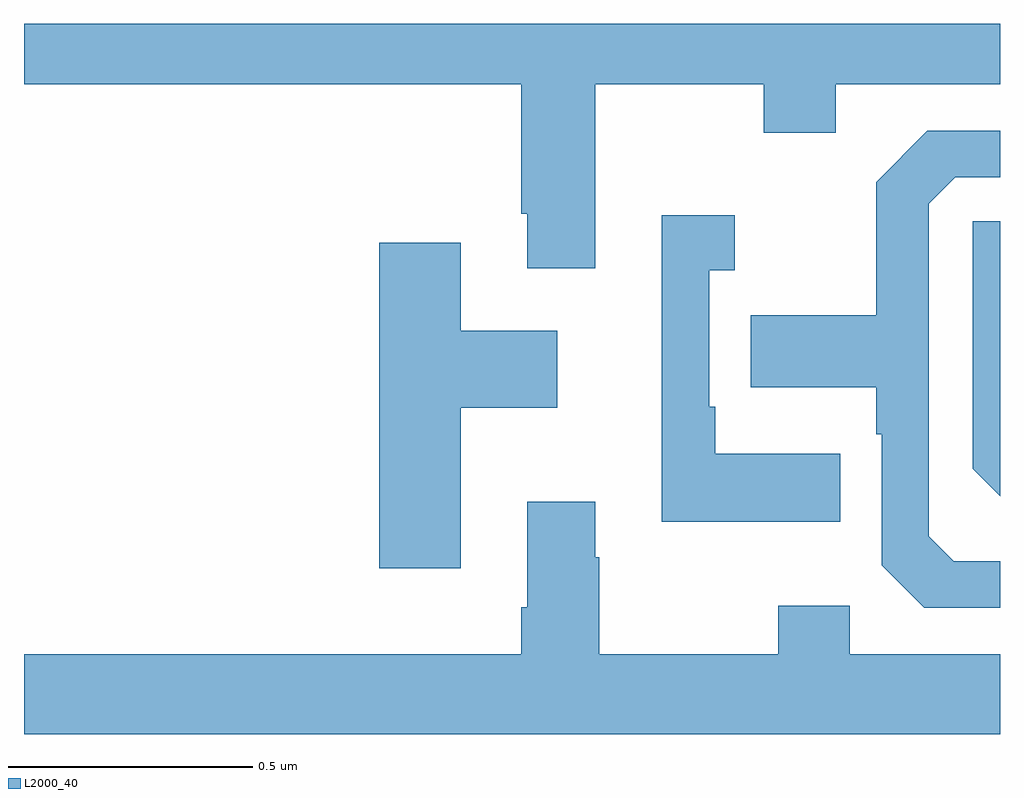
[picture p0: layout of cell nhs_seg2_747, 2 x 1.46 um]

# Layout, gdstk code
import gdstk
lib = gdstk.Library(unit=1e-6, precision=1e-09)
def P(c, l, *ps):  # polygons
    for p in ps: c.add(gdstk.Polygon(p, *l))
L2000_40 = (2000, 40)

nhs_seg2_747 = lib.new_cell('nhs_seg2_747')
P(nhs_seg2_747, L2000_40, [(121.171,607.676),(121.516,607.676),(121.516,607.577),(121.663,607.577),(121.663,607.676),(122,607.676),(122,607.8),(120,607.8),(120,607.676),(121.019,607.676),(121.019,607.411),(121.031,607.411),(121.031,607.299),(121.171,607.299)],
  [(122,606.699),(121.905,606.699),(121.854,606.75),(121.854,607.431),(121.908,607.485),(122,607.485),(122,607.581),(121.851,607.581),(121.746,607.475),(121.746,607.203),(121.489,607.203),(121.489,607.055),(121.746,607.055),(121.746,606.959),(121.758,606.959),(121.758,606.69),(121.845,606.603),(122,606.603)],
  [(121.673,606.919),(121.417,606.919),(121.417,607.015),(121.404,607.015),(121.404,607.295),(121.456,607.295),(121.456,607.408),(121.307,607.408),(121.307,606.779),(121.673,606.779)],
  [(122,607.395),(121.944,607.395),(121.944,606.888),(122,606.832)],
  [(120.895,607.013),(121.093,607.013),(121.093,607.171),(120.895,607.171),(120.895,607.351),(120.728,607.351),(120.728,606.684),(120.895,606.684)],
  [(122,606.508),(121.692,606.508),(121.692,606.607),(121.546,606.607),(121.546,606.508),(121.179,606.508),(121.179,606.707),(121.171,606.707),(121.171,606.82),(121.031,606.82),(121.031,606.604),(121.019,606.604),(121.019,606.508),(120,606.508),(120,606.344),(122,606.344)])

lib.write_gds('nhs_seg2_747.gds')
